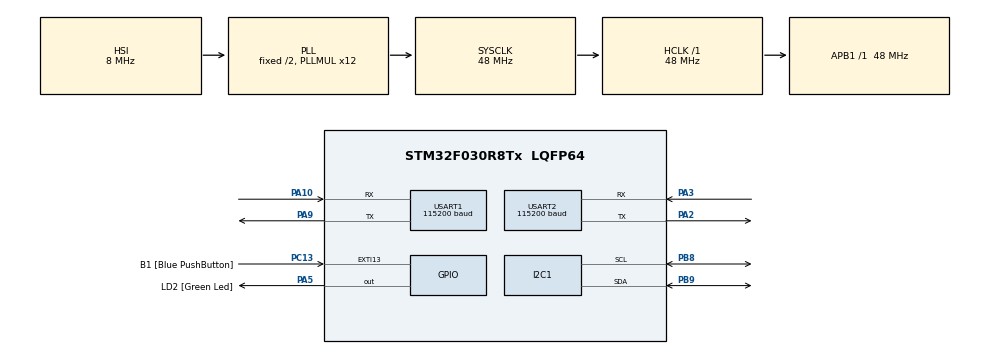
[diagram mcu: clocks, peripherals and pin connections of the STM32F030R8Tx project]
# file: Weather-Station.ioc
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FREERTOS.Tasks01=defaultTask,0,128,StartDefaultTask,Default,NULL
Mcu.Family=STM32F0
Mcu.Name=STM32F030R8Tx
Mcu.Package=LQFP64
NVIC.TIM6_IRQn=true\:0\:0\:false\:false\:true\:false\:false
NVIC.TimeBase=TIM6_IRQn
NVIC.TimeBaseIP=TIM6
PA10.Mode=Asynchronous
PA10.Signal=USART1_RX
PA13.GPIO_Label=TMS
PA13.Mode=Serial_Wire
PA13.Signal=SYS_SWDIO
PA14.GPIO_Label=TCK
PA14.Mode=Serial_Wire
PA14.Signal=SYS_SWCLK
PA2.Mode=Asynchronous
PA2.Signal=USART2_TX
PA3.Mode=Asynchronous
PA3.Signal=USART2_RX
PA5.GPIO_Label=LD2 [Green Led]
PA5.GPIO_Mode=GPIO_MODE_OUTPUT_PP
PA5.GPIO_PuPd=GPIO_NOPULL
PA5.GPIO_Speed=GPIO_SPEED_FREQ_LOW
PA5.Signal=GPIO_Output
PA9.Mode=Asynchronous
PA9.Signal=USART1_TX
PB8.Mode=I2C
PB8.Signal=I2C1_SCL
PB9.Mode=I2C
PB9.Signal=I2C1_SDA
PC13.GPIO_Label=B1 [Blue PushButton]
PC13.GPIO_ModeDefaultEXTI=GPIO_MODE_IT_FALLING
PC13.Signal=GPXTI13
PC14-OSC32_IN.Mode=LSE-External-Oscillator
PC14-OSC32_IN.Signal=RCC_OSC32_IN
PC15-OSC32_OUT.Mode=LSE-External-Oscillator
PC15-OSC32_OUT.Signal=RCC_OSC32_OUT
PF0-OSC_IN.Mode=HSE-External-Clock-Source
PF0-OSC_IN.Signal=RCC_OSC_IN
PF1-OSC_OUT.Signal=RCC_OSC_OUT
ProjectManager.HeapSize=0x200
ProjectManager.StackSize=0x400
ProjectManager.TargetToolchain=SW4STM32
RCC.AHBFreq_Value=48000000
RCC.APB1Freq_Value=48000000
RCC.APB1TimFreq_Value=48000000
RCC.HCLKFreq_Value=48000000
RCC.PLLMUL=RCC_PLL_MUL12
RCC.SYSCLKFreq_VALUE=48000000
RCC.SYSCLKSource=RCC_SYSCLKSOURCE_PLLCLK
USART1.BaudRate=115200
USART1.VirtualMode-Asynchronous=VM_ASYNC
USART2.BaudRate=115200
USART2.VirtualMode-Asynchronous=VM_ASYNC
VP_FREERTOS_VS_ENABLE.Mode=Enabled
VP_SYS_VS_tim6.Mode=TIM6
board=NUCLEO-F030R8

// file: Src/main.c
/**
  ******************************************************************************
  * @file           : main.c
  * @brief          : Main program body
  ******************************************************************************
  * This notice applies to any and all portions of this file
  * that are not between comment pairs USER CODE BEGIN and
  * USER CODE END. Other portions of this file, whether
  * inserted by the user or by software development tools
  * are owned by their respective copyright owners.
  *
  * Copyright (c) 2018 STMicroelectronics International N.V.
  * All rights reserved.
  *
  * Redistribution and use in source and binary forms, with or without
  * modification, are permitted, provided that the following conditions are met:
  *
  * 1. Redistribution of source code must retain the above copyright notice,
  *    this list of conditions and the following disclaimer.
  * 2. Redistributions in binary form must reproduce the above copyright notice,
  *    this list of conditions and the following disclaimer in the documentation
  *    and/or other materials provided with the distribution.
  * 3. Neither the name of STMicroelectronics nor the names of other
  *    contributors to this software may be used to endorse or promote products
  *    derived from this software without specific written permission.
  * 4. This software, including modifications and/or derivative works of this
  *    software, must execute solely and exclusively on microcontroller or
  *    microprocessor devices manufactured by or for STMicroelectronics.
  * 5. Redistribution and use of this software other than as permitted under
  *    this license is void and will automatically terminate your rights under
  *    this license.
  *
  * THIS SOFTWARE IS PROVIDED BY STMICROELECTRONICS AND CONTRIBUTORS "AS IS"
  * AND ANY EXPRESS, IMPLIED OR STATUTORY WARRANTIES, INCLUDING, BUT NOT
  * LIMITED TO, THE IMPLIED WARRANTIES OF MERCHANTABILITY, FITNESS FOR A
  * PARTICULAR PURPOSE AND NON-INFRINGEMENT OF THIRD PARTY INTELLECTUAL PROPERTY
  * RIGHTS ARE DISCLAIMED TO THE FULLEST EXTENT PERMITTED BY LAW. IN NO EVENT
  * SHALL STMICROELECTRONICS OR CONTRIBUTORS BE LIABLE FOR ANY DIRECT, INDIRECT,
  * INCIDENTAL, SPECIAL, EXEMPLARY, OR CONSEQUENTIAL DAMAGES (INCLUDING, BUT NOT
  * LIMITED TO, PROCUREMENT OF SUBSTITUTE GOODS OR SERVICES; LOSS OF USE, DATA,
  * OR PROFITS; OR BUSINESS INTERRUPTION) HOWEVER CAUSED AND ON ANY THEORY OF
  * LIABILITY, WHETHER IN CONTRACT, STRICT LIABILITY, OR TORT (INCLUDING
  * NEGLIGENCE OR OTHERWISE) ARISING IN ANY WAY OUT OF THE USE OF THIS SOFTWARE,
  * EVEN IF ADVISED OF THE POSSIBILITY OF SUCH DAMAGE.
  *
  ******************************************************************************
  */
#include "main.h"
#include "stm32f0xx_hal.h"
#include "cmsis_os.h"

/* USER CODE BEGIN Includes */
#include "espTests.h"
#include "KeepAliveLED.h"
/* USER CODE END Includes */

I2C_HandleTypeDef hi2c1;

UART_HandleTypeDef huart1;
UART_HandleTypeDef huart2;

osThreadId defaultTaskHandle;

void SystemClock_Config(void);
static void MX_GPIO_Init(void);
static void MX_I2C1_Init(void);
static void MX_USART2_UART_Init(void);
static void MX_USART1_UART_Init(void);
void StartDefaultTask(void const * argument);

int main(void)
{
  /* USER CODE BEGIN 1 */
	void * wifiServerParams[2];
	((UART_HandleTypeDef **)wifiServerParams)[0] = &huart1;
	((I2C_HandleTypeDef **)wifiServerParams)[1] = &hi2c1;
  /* USER CODE END 1 */

  /* MCU Configuration----------------------------------------------------------*/

  /* Reset of all peripherals, Initializes the Flash interface and the Systick. */
  HAL_Init();

  /* Configure the system clock */
  SystemClock_Config();

  /* Initialize all configured peripherals */
  MX_GPIO_Init();
  MX_I2C1_Init();
  MX_USART2_UART_Init();
  MX_USART1_UART_Init();
  /* USER CODE BEGIN 2 */

  xTaskCreate(blinkLed,								/*Task Pointer*/
		  	  (const char* const) "KeepAliveLED",		/*Task Name*/
			  configMINIMAL_STACK_SIZE,				/*Stack Depth*/
			  0,										/*Parameters to pass to task*/
  			  2,										/*Task Priority*/
  			  0);

  xTaskCreate(testTask,
		  	  (const char* const) "WifiServer",
			  configMINIMAL_STACK_SIZE,
			  &huart1,
			  2,
			  0);

  /* USER CODE END 2 */

  /* Create the thread(s) */
  /* definition and creation of defaultTask */
  osThreadDef(defaultTask, StartDefaultTask, osPriorityNormal, 0, 128);
  defaultTaskHandle = osThreadCreate(osThread(defaultTask), NULL);

  /* Start scheduler */
  osKernelStart();

  /* We should never get here as control is now taken by the scheduler */

  /* Infinite loop */
  while (1)
  {
  }

}

void SystemClock_Config(void)
{

  RCC_OscInitTypeDef RCC_OscInitStruct;
  RCC_ClkInitTypeDef RCC_ClkInitStruct;
  RCC_PeriphCLKInitTypeDef PeriphClkInit;

    /**Initializes the CPU, AHB and APB busses clocks
    */
  RCC_OscInitStruct.OscillatorType = RCC_OSCILLATORTYPE_HSI;
  RCC_OscInitStruct.HSIState = RCC_HSI_ON;
  RCC_OscInitStruct.HSICalibrationValue = 16;
  RCC_OscInitStruct.PLL.PLLState = RCC_PLL_ON;
  RCC_OscInitStruct.PLL.PLLSource = RCC_PLLSOURCE_HSI;
  RCC_OscInitStruct.PLL.PLLMUL = RCC_PLL_MUL12;
  RCC_OscInitStruct.PLL.PREDIV = RCC_PREDIV_DIV1;
  if (HAL_RCC_OscConfig(&RCC_OscInitStruct) != HAL_OK)
  {
    _Error_Handler(__FILE__, __LINE__);
  }

    /**Initializes the CPU, AHB and APB busses clocks
    */
  RCC_ClkInitStruct.ClockType = RCC_CLOCKTYPE_HCLK|RCC_CLOCKTYPE_SYSCLK
                              |RCC_CLOCKTYPE_PCLK1;
  RCC_ClkInitStruct.SYSCLKSource = RCC_SYSCLKSOURCE_PLLCLK;
  RCC_ClkInitStruct.AHBCLKDivider = RCC_SYSCLK_DIV1;
  RCC_ClkInitStruct.APB1CLKDivider = RCC_HCLK_DIV1;

  if (HAL_RCC_ClockConfig(&RCC_ClkInitStruct, FLASH_LATENCY_1) != HAL_OK)
  {
    _Error_Handler(__FILE__, __LINE__);
  }

  PeriphClkInit.PeriphClockSelection = RCC_PERIPHCLK_USART1|RCC_PERIPHCLK_I2C1;
  PeriphClkInit.Usart1ClockSelection = RCC_USART1CLKSOURCE_PCLK1;
  PeriphClkInit.I2c1ClockSelection = RCC_I2C1CLKSOURCE_HSI;
  if (HAL_RCCEx_PeriphCLKConfig(&PeriphClkInit) != HAL_OK)
  {
    _Error_Handler(__FILE__, __LINE__);
  }

    /**Configure the Systick interrupt time
    */
  HAL_SYSTICK_Config(HAL_RCC_GetHCLKFreq()/1000);

    /**Configure the Systick
    */
  HAL_SYSTICK_CLKSourceConfig(SYSTICK_CLKSOURCE_HCLK);

  /* SysTick_IRQn interrupt configuration */
  HAL_NVIC_SetPriority(SysTick_IRQn, 3, 0);
}

/* I2C1 init function */
static void MX_I2C1_Init(void)
{

  hi2c1.Instance = I2C1;
  hi2c1.Init.Timing = 0x2000090E;
  hi2c1.Init.OwnAddress1 = 0;
  hi2c1.Init.AddressingMode = I2C_ADDRESSINGMODE_7BIT;
  hi2c1.Init.DualAddressMode = I2C_DUALADDRESS_DISABLE;
  hi2c1.Init.OwnAddress2 = 0;
  hi2c1.Init.OwnAddress2Masks = I2C_OA2_NOMASK;
  hi2c1.Init.GeneralCallMode = I2C_GENERALCALL_DISABLE;
  hi2c1.Init.NoStretchMode = I2C_NOSTRETCH_DISABLE;
  if (HAL_I2C_Init(&hi2c1) != HAL_OK)
  {
    _Error_Handler(__FILE__, __LINE__);
  }

    /**Configure Analogue filter
    */
  if (HAL_I2CEx_ConfigAnalogFilter(&hi2c1, I2C_ANALOGFILTER_ENABLE) != HAL_OK)
  {
    _Error_Handler(__FILE__, __LINE__);
  }

    /**Configure Digital filter
    */
  if (HAL_I2CEx_ConfigDigitalFilter(&hi2c1, 0) != HAL_OK)
  {
    _Error_Handler(__FILE__, __LINE__);
  }

}

/* USART1 init function */
static void MX_USART1_UART_Init(void)
{

  huart1.Instance = USART1;
  huart1.Init.BaudRate = 115200;
  huart1.Init.WordLength = UART_WORDLENGTH_8B;
  huart1.Init.StopBits = UART_STOPBITS_1;
  huart1.Init.Parity = UART_PARITY_NONE;
  huart1.Init.Mode = UART_MODE_TX_RX;
  huart1.Init.HwFlowCtl = UART_HWCONTROL_NONE;
  huart1.Init.OverSampling = UART_OVERSAMPLING_16;
  huart1.Init.OneBitSampling = UART_ONE_BIT_SAMPLE_DISABLE;
  huart1.AdvancedInit.AdvFeatureInit = UART_ADVFEATURE_NO_INIT;
  if (HAL_UART_Init(&huart1) != HAL_OK)
  {
    _Error_Handler(__FILE__, __LINE__);
  }

}

/* USART2 init function */
static void MX_USART2_UART_Init(void)
{

  huart2.Instance = USART2;
  huart2.Init.BaudRate = 115200;
  huart2.Init.WordLength = UART_WORDLENGTH_8B;
  huart2.Init.StopBits = UART_STOPBITS_1;
  huart2.Init.Parity = UART_PARITY_NONE;
  huart2.Init.Mode = UART_MODE_TX_RX;
  huart2.Init.HwFlowCtl = UART_HWCONTROL_NONE;
  huart2.Init.OverSampling = UART_OVERSAMPLING_16;
  huart2.Init.OneBitSampling = UART_ONE_BIT_SAMPLE_DISABLE;
  huart2.AdvancedInit.AdvFeatureInit = UART_ADVFEATURE_NO_INIT;
  if (HAL_UART_Init(&huart2) != HAL_OK)
  {
    _Error_Handler(__FILE__, __LINE__);
  }

}

/** Configure pins as
        * Analog
        * Input
        * Output
        * EVENT_OUT
        * EXTI
        * Free pins are configured automatically as Analog (this feature is enabled through
        * the Code Generation settings)
*/
static void MX_GPIO_Init(void)
{

  GPIO_InitTypeDef GPIO_InitStruct;

  /* GPIO Ports Clock Enable */
  __HAL_RCC_GPIOC_CLK_ENABLE();
  __HAL_RCC_GPIOF_CLK_ENABLE();
  __HAL_RCC_GPIOA_CLK_ENABLE();
  __HAL_RCC_GPIOB_CLK_ENABLE();
  __HAL_RCC_GPIOD_CLK_ENABLE();

  /*Configure GPIO pin Output Level */
  HAL_GPIO_WritePin(LD2_GPIO_Port, LD2_Pin, GPIO_PIN_RESET);

  /*Configure GPIO pin : B1_Pin */
  GPIO_InitStruct.Pin = B1_Pin;
  GPIO_InitStruct.Mode = GPIO_MODE_IT_FALLING;
  GPIO_InitStruct.Pull = GPIO_NOPULL;
  HAL_GPIO_Init(B1_GPIO_Port, &GPIO_InitStruct);

  /*Configure GPIO pins : PC0 PC1 PC2 PC3
                           PC4 PC5 PC6 PC7
                           PC8 PC9 PC10 PC11
                           PC12 */
  GPIO_InitStruct.Pin = GPIO_PIN_0|GPIO_PIN_1|GPIO_PIN_2|GPIO_PIN_3
                          |GPIO_PIN_4|GPIO_PIN_5|GPIO_PIN_6|GPIO_PIN_7
                          |GPIO_PIN_8|GPIO_PIN_9|GPIO_PIN_10|GPIO_PIN_11
                          |GPIO_PIN_12;
  GPIO_InitStruct.Mode = GPIO_MODE_ANALOG;
  GPIO_InitStruct.Pull = GPIO_NOPULL;
  HAL_GPIO_Init(GPIOC, &GPIO_InitStruct);

  /*Configure GPIO pins : PA0 PA1 PA4 PA6
                           PA7 PA8 PA11 PA12
                           PA15 */
  GPIO_InitStruct.Pin = GPIO_PIN_0|GPIO_PIN_1|GPIO_PIN_4|GPIO_PIN_6
                          |GPIO_PIN_7|GPIO_PIN_8|GPIO_PIN_11|GPIO_PIN_12
                          |GPIO_PIN_15;
  GPIO_InitStruct.Mode = GPIO_MODE_ANALOG;
  GPIO_InitStruct.Pull = GPIO_NOPULL;
  HAL_GPIO_Init(GPIOA, &GPIO_InitStruct);

  /*Configure GPIO pins : PF4 PF5 PF6 PF7 */
  GPIO_InitStruct.Pin = GPIO_PIN_4|GPIO_PIN_5|GPIO_PIN_6|GPIO_PIN_7;
  GPIO_InitStruct.Mode = GPIO_MODE_ANALOG;
  GPIO_InitStruct.Pull = GPIO_NOPULL;
  HAL_GPIO_Init(GPIOF, &GPIO_InitStruct);

  /*Configure GPIO pin : LD2_Pin */
  GPIO_InitStruct.Pin = LD2_Pin;
  GPIO_InitStruct.Mode = GPIO_MODE_OUTPUT_PP;
  GPIO_InitStruct.Pull = GPIO_NOPULL;
  GPIO_InitStruct.Speed = GPIO_SPEED_FREQ_LOW;
  HAL_GPIO_Init(LD2_GPIO_Port, &GPIO_InitStruct);

  /*Configure GPIO pins : PB0 PB1 PB2 PB10
                           PB11 PB12 PB13 PB14
                           PB15 PB3 PB4 PB5
                           PB6 PB7 */
  GPIO_InitStruct.Pin = GPIO_PIN_0|GPIO_PIN_1|GPIO_PIN_2|GPIO_PIN_10
                          |GPIO_PIN_11|GPIO_PIN_12|GPIO_PIN_13|GPIO_PIN_14
                          |GPIO_PIN_15|GPIO_PIN_3|GPIO_PIN_4|GPIO_PIN_5
                          |GPIO_PIN_6|GPIO_PIN_7;
  GPIO_InitStruct.Mode = GPIO_MODE_ANALOG;
  GPIO_InitStruct.Pull = GPIO_NOPULL;
  HAL_GPIO_Init(GPIOB, &GPIO_InitStruct);

  /*Configure GPIO pin : PD2 */
  GPIO_InitStruct.Pin = GPIO_PIN_2;
  GPIO_InitStruct.Mode = GPIO_MODE_ANALOG;
  GPIO_InitStruct.Pull = GPIO_NOPULL;
  HAL_GPIO_Init(GPIOD, &GPIO_InitStruct);

}

/* StartDefaultTask function */
void StartDefaultTask(void const * argument)
{

  for(;;)
  {
    osDelay(1);
  }
}

void HAL_TIM_PeriodElapsedCallback(TIM_HandleTypeDef *htim)
{
  if (htim->Instance == TIM6) {
    HAL_IncTick();
  }
}

void _Error_Handler(char *file, int line)
{
  while(1)
  {
  }
}

/************************ (C) COPYRIGHT STMicroelectronics *****END OF FILE****/
